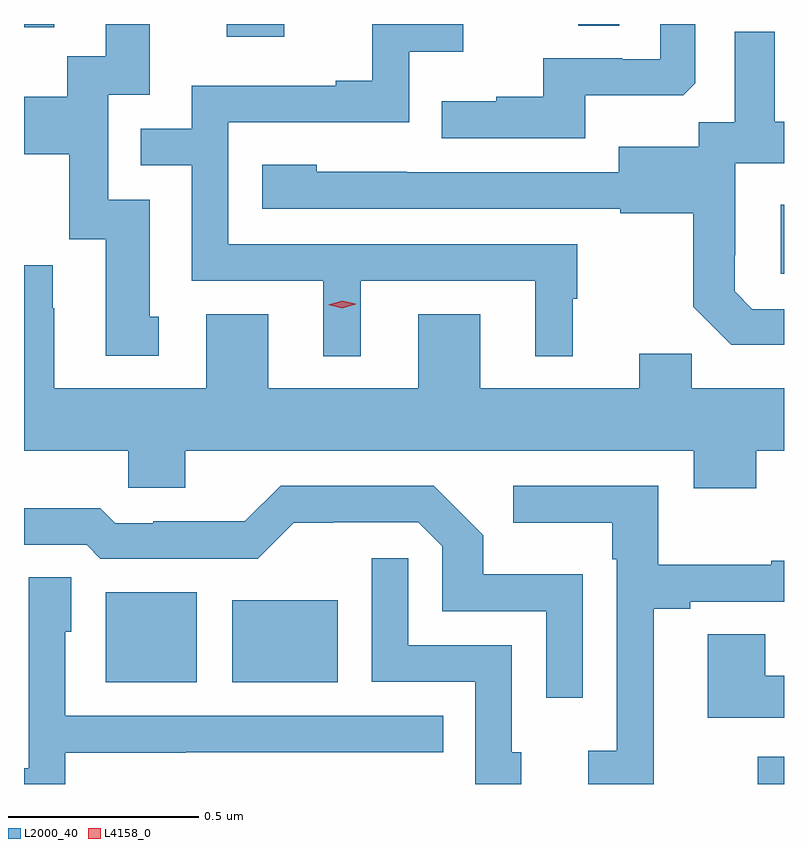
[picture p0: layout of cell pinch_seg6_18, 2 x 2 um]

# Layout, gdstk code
import gdstk
lib = gdstk.Library(unit=1e-6, precision=1e-09)
def R(c, l, rs):  # rectangles x0, y0, x1, y1
    for r in rs: c.add(gdstk.rectangle(r[:2], r[2:], *l))
def P(c, l, *ps):  # polygons
    for p in ps: c.add(gdstk.Polygon(p, *l))
L2000_40 = (2000, 40)
L4158_0 = (4158, 0)

pinch_seg6_18 = lib.new_cell('pinch_seg6_18')
R(pinch_seg6_18, L2000_40, [(965.123,958.447,965.192,958.519), (963.407,958.715,963.646,958.951), (963.74,958.715,964.018,958.93), (965.183,959.79,965.192,959.971), (963.725,960.414,963.877,960.447), (963.192,960.438,963.271,960.447), (964.65,960.442,964.758,960.447)])
P(pinch_seg6_18, L2000_40, [(964.078,959.772),(964.538,959.772),(964.538,959.573),(964.636,959.573),(964.636,959.724),(964.648,959.724),(964.648,959.868),(963.729,959.868),(963.729,960.189),(964.206,960.189),(964.206,960.374),(964.348,960.374),(964.348,960.447),(964.108,960.447),(964.108,960.298),(964.013,960.298),(964.013,960.285),(963.633,960.285),(963.633,960.171),(963.499,960.171),(963.499,960.075),(963.633,960.075),(963.633,959.772),(963.98,959.772),(963.98,959.573),(964.078,959.573)],
  [(963.547,959.676),(963.523,959.676),(963.523,959.985),(963.414,959.985),(963.414,960.261),(963.523,960.261),(963.523,960.447),(963.407,960.447),(963.407,960.362),(963.306,960.362),(963.306,960.256),(963.192,960.256),(963.192,960.104),(963.311,960.104),(963.311,959.88),(963.407,959.88),(963.407,959.574),(963.547,959.574)],
  [(964.669,960.26),(964.927,960.26),(964.959,960.291),(964.959,960.447),(964.866,960.447),(964.866,960.354),(964.766,960.354),(964.766,960.357),(964.559,960.357),(964.559,960.256),(964.435,960.256),(964.435,960.244),(964.291,960.244),(964.291,960.147),(964.669,960.147)],
  [(965.192,959.697),(965.109,959.697),(965.062,959.744),(965.062,959.839),(965.064,959.839),(965.064,960.08),(965.192,960.08),(965.192,960.19),(965.167,960.19),(965.167,960.427),(965.063,960.427),(965.063,960.188),(964.968,960.188),(964.968,960.124),(964.757,960.124),(964.757,960.057),(964.199,960.057),(964.199,960.058),(963.963,960.058),(963.963,960.076),(963.819,960.076),(963.819,959.961),(964.761,959.961),(964.761,959.949),(964.953,959.949),(964.953,959.703),(965.053,959.603),(965.192,959.603)],
  [(965.119,959.324),(965.192,959.324),(965.192,959.488),(964.949,959.488),(964.949,959.579),(964.811,959.579),(964.811,959.488),(964.393,959.488),(964.393,959.683),(964.229,959.683),(964.229,959.488),(963.835,959.488),(963.835,959.683),(963.671,959.683),(963.671,959.488),(963.271,959.488),(963.271,959.699),(963.268,959.699),(963.268,959.812),(963.192,959.812),(963.192,959.324),(963.466,959.324),(963.466,959.226),(963.616,959.226),(963.616,959.324),(964.955,959.324),(964.955,959.225),(965.119,959.225)],
  [(964.849,958.908),(964.945,958.908),(964.945,958.926),(965.192,958.926),(965.192,959.035),(965.159,959.035),(965.159,959.024),(964.861,959.024),(964.861,959.232),(964.479,959.232),(964.479,959.135),(964.74,959.135),(964.74,959.039),(964.752,959.039),(964.752,958.534),(964.677,958.534),(964.677,958.447),(964.849,958.447)],
  [(964.662,958.999),(964.401,958.999),(964.401,959.102),(964.27,959.232),(963.867,959.232),(963.773,959.138),(963.532,959.138),(963.532,959.133),(963.432,959.133),(963.393,959.173),(963.192,959.173),(963.192,959.076),(963.357,959.076),(963.393,959.04),(963.807,959.04),(963.902,959.135),(964.006,959.135),(964.006,959.136),(964.23,959.136),(964.293,959.073),(964.293,958.902),(964.566,958.902),(964.566,958.674),(964.662,958.674)],
  [(964.501,958.53),(964.476,958.53),(964.476,958.812),(964.203,958.812),(964.203,959.041),(964.107,959.041),(964.107,958.716),(964.38,958.716),(964.38,958.447),(964.501,958.447)],
  [(963.3,958.529),(963.617,958.529),(963.617,958.53),(964.295,958.53),(964.295,958.626),(963.3,958.626),(963.3,958.848),(963.316,958.848),(963.316,958.991),(963.204,958.991),(963.204,958.488),(963.192,958.488),(963.192,958.447),(963.3,958.447)],
  [(965.192,958.732),(965.143,958.732),(965.143,958.841),(964.991,958.841),(964.991,958.622),(965.192,958.622)])
P(pinch_seg6_18, L4158_0, [(964.029,959.699),(963.993,959.708),(963.993,959.708),(963.993,959.708),(964.029,959.719),(964.065,959.711),(964.065,959.71),(964.065,959.71)])

lib.write_gds('pinch_seg6_18.gds')
